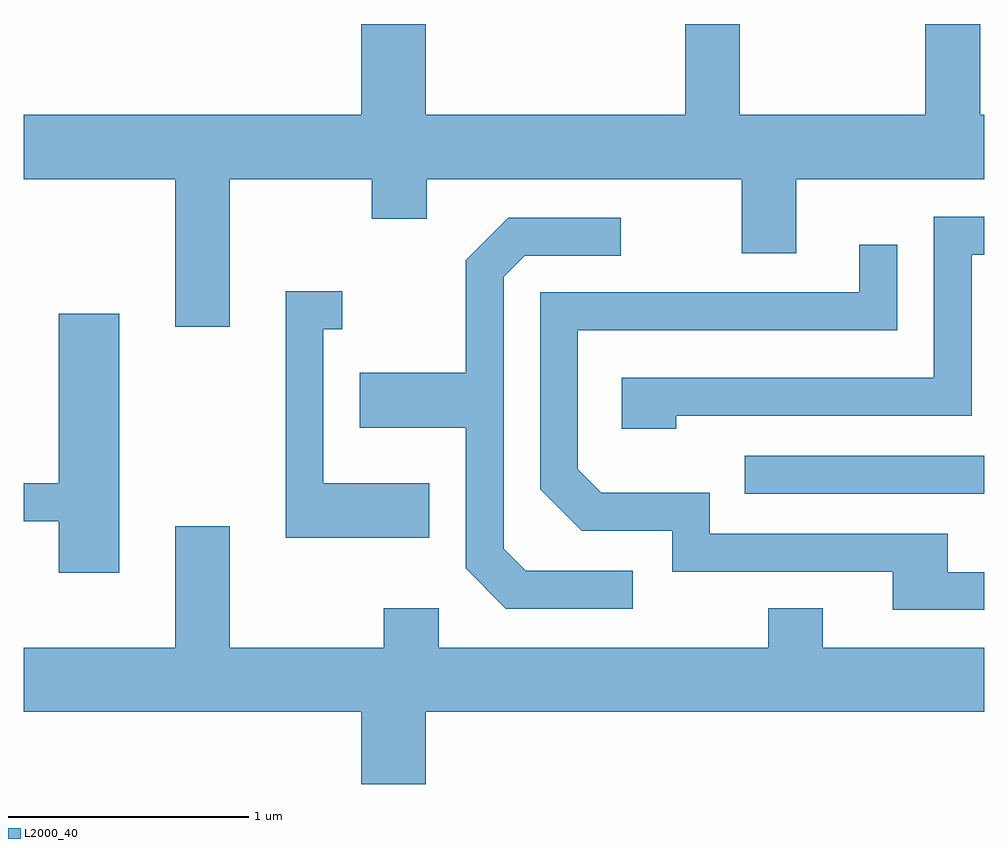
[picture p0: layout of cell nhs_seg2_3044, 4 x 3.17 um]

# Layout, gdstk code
import gdstk
lib = gdstk.Library(unit=1e-6, precision=1e-09)
def R(c, l, rs):  # rectangles x0, y0, x1, y1
    for r in rs: c.add(gdstk.rectangle(r[:2], r[2:], *l))
def P(c, l, *ps):  # polygons
    for p in ps: c.add(gdstk.Polygon(p, *l))
L2000_40 = (2000, 40)

nhs_seg2_3044 = lib.new_cell('nhs_seg2_3044')
R(nhs_seg2_3044, L2000_40, [(276.613,1095.846,277.611,1096.004)])
P(nhs_seg2_3044, L2000_40, [(274.469,1097.156),(275.061,1097.156),(275.061,1096.991),(275.289,1096.991),(275.289,1097.156),(276.601,1097.156),(276.601,1096.846),(276.829,1096.846),(276.829,1097.156),(277.611,1097.156),(277.611,1097.424),(277.594,1097.424),(277.594,1097.802),(277.366,1097.802),(277.366,1097.424),(276.594,1097.424),(276.594,1097.802),(276.366,1097.802),(276.366,1097.424),(275.284,1097.424),(275.284,1097.802),(275.016,1097.802),(275.016,1097.424),(273.611,1097.424),(273.611,1097.156),(274.241,1097.156),(274.241,1096.541),(274.469,1096.541)],
  [(276.329,1096.171),(277.559,1096.171),(277.559,1096.841),(277.611,1096.841),(277.611,1096.999),(277.401,1096.999),(277.401,1096.329),(276.101,1096.329),(276.101,1096.116),(276.329,1096.116)],
  [(276.148,1095.524),(275.702,1095.524),(275.609,1095.617),(275.609,1096.749),(275.697,1096.836),(276.098,1096.836),(276.098,1096.994),(275.629,1096.994),(275.451,1096.817),(275.451,1096.349),(275.011,1096.349),(275.011,1096.121),(275.451,1096.121),(275.451,1095.534),(275.619,1095.366),(276.148,1095.366)],
  [(277.611,1095.519),(277.459,1095.519),(277.459,1095.679),(276.469,1095.679),(276.469,1095.849),(276.017,1095.849),(275.919,1095.947),(275.919,1096.526),(277.249,1096.526),(277.249,1096.883),(277.091,1096.883),(277.091,1096.684),(275.761,1096.684),(275.761,1095.864),(275.934,1095.691),(276.311,1095.691),(276.311,1095.521),(277.231,1095.521),(277.231,1095.361),(277.611,1095.361)],
  [(275.299,1095.889),(274.859,1095.889),(274.859,1096.531),(274.938,1096.531),(274.938,1096.689),(274.701,1096.689),(274.701,1095.661),(275.299,1095.661)],
  [(274.009,1096.594),(273.756,1096.594),(273.756,1095.889),(273.611,1095.889),(273.611,1095.731),(273.756,1095.731),(273.756,1095.516),(274.009,1095.516)],
  [(275.284,1094.936),(277.611,1094.936),(277.611,1095.204),(276.939,1095.204),(276.939,1095.369),(276.711,1095.369),(276.711,1095.204),(275.339,1095.204),(275.339,1095.369),(275.111,1095.369),(275.111,1095.204),(274.469,1095.204),(274.469,1095.709),(274.241,1095.709),(274.241,1095.204),(273.611,1095.204),(273.611,1094.936),(275.016,1094.936),(275.016,1094.636),(275.284,1094.636)])

lib.write_gds('nhs_seg2_3044.gds')
